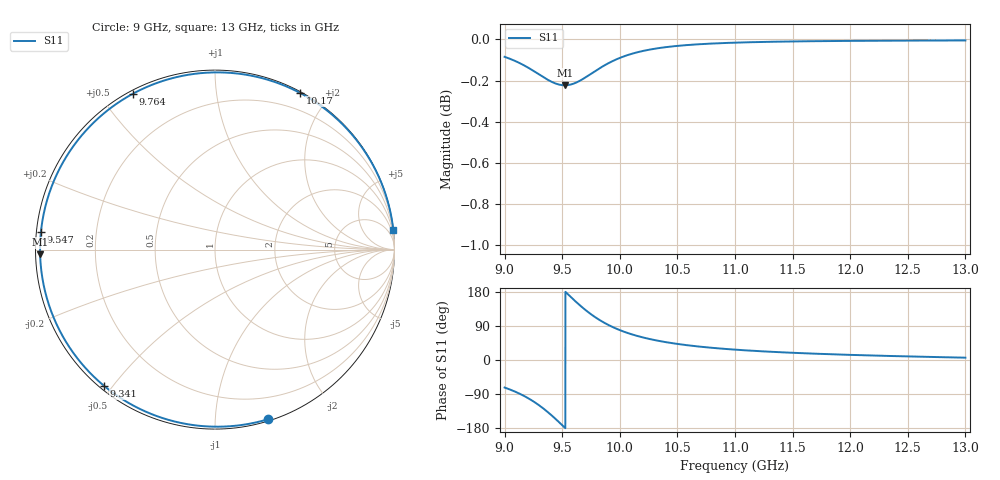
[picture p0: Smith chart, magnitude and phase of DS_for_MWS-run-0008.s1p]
! TOUCHSTONE file generated by CST DESIGN STUDIO
! Date and time: Tue Feb  4 14:14:39 2025
! Project name: C:\Work\MatlabApps\UnitCellOptimizationMatlab\CST\unitcell.cst
! Tree item: Tasks\Sweep1\SPara1\S-Parameters
! Header version: 2024
! Port assignment regex: !\s*Touchstone port\s*([0-9]+)\s*=\s*(CST MWS port|CST DES external port|CST DES block port)\s*(.+)\s* \(\"(.*)\"\)(\s*mode\s*([0-9]+))?.*
! Touchstone port assignment:
! Touchstone port 1 = CST DES external port 1 ("")
# GHz S MA R 50
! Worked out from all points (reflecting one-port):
!   4001 points, 9 GHz to 13 GHz, reference 50 ohm
!   lowest |S11| = -0.2 dB at 9.522 GHz (marker M1), VSWR 78.00, Z = 0.641 - j0.691 ohm
!   phase of S11 starts at -73 deg and turns -281 deg over the sweep
!   S11 on the Smith chart (normalised r, x): 9 GHz: 0.01, -1.36; 9.341 GHz: 0.01, -0.48; 9.547 GHz: 0.01, +0.05; 9.764 GHz: 0.01, +0.60; 10.17 GHz: 0.01, +1.68; 13 GHz: 0, +19
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9  0.9903 -72.7
9.093  0.988 -83.7
9.199  0.9845 -99.9
9.273  0.9817 -113.9
9.341  0.979 -129.1
9.384  0.9774 -139.8
9.429  0.976 -151.8
9.5  0.9748 -172.0
9.522  0.9747 -178.4
9.547  0.9748 174.3
9.601  0.9756 158.7
9.661  0.9774 142.3
9.712  0.9794 129.5
9.764  0.9816 117.7
9.814  0.9836 107.5
9.868  0.9857 97.8
9.934  0.9879 87.5
10  0.9897 78.9
10.084  0.9916 69.7
10.174  0.9932 61.6
10.323  0.995 51.3
10.5  0.9964 42.4
10.722  0.9975 34.4
11  0.9982 27.3
11.5  0.9989 19.0
12  0.9992 13.5
12.5  0.9994 9.5
13  0.9994 6.1
